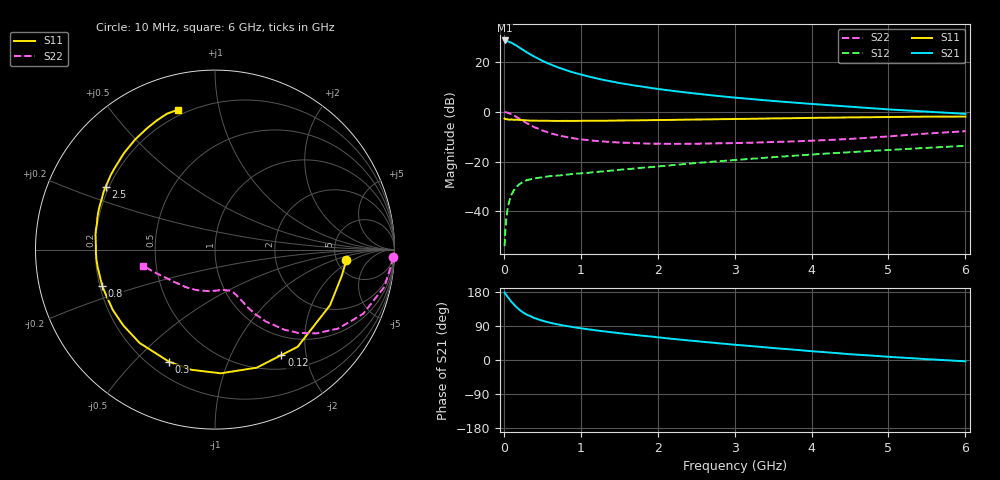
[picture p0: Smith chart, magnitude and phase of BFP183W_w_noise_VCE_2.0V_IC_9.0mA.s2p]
! Infineon Technologies  Discrete & RF Semiconductors
! BFP183W
! VCE =  2.0 V,  IC =  9.0 mA
! Common Emitter S-Parameters:  Jan 2017
# GHz  S  MA  R  50
!  f  S11  S21  S12  S22
! GHz  MAG  ANG  MAG  ANG  MAG  ANG  MAG  ANG
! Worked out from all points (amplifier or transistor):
!   77 points, 10 MHz to 6 GHz, reference 50 ohm
!   highest |S21| = 28.7 dB at 10 MHz (marker M1)
!   |S21| within 3 dB of that: start of sweep to 210 MHz
!   unconditionally stable (mu >= 1): 1.648 GHz to 4.36 GHz
!   at 130 MHz: K = 0.13, MSG = 29.4 dB, |S12| = -31.5 dB
!   at 2.2 GHz: K = 1.07, MAG = 13.3 dB, |S12| = -21.4 dB
!   at 6 GHz: K = 0.89, MSG = 6.4 dB, |S12| = -13.7 dB
!   lowest NFmin = 0.90 dB at 450 MHz
!   S11 on the Smith chart (normalised r, x): 10 MHz: 6.12, -1.56; 120 MHz: 0.70, -1.58; 300 MHz: 0.28, -0.63; 800 MHz: 0.21, -0.15; 2.5 GHz: 0.19, +0.26; 6 GHz: 0.17, +0.75
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0.01  0.7342 -4.6  27.27 178.2  0.002 90.1  0.9926 -2.5
0.02  0.7214 -11.6  27.02 174.4  0.0042 90.0  0.9857 -5.0
0.05  0.7118 -25.8  26.34 166.2  0.0116 79.1  0.9669 -12.3
0.1  0.7108 -49.6  24.49 153.3  0.0219 69.0  0.8996 -23.4
0.12  0.6944 -57.8  23.46 149.1  0.0249 64.2  0.8635 -26.9
0.15  0.6977 -70.5  22.17 142.2  0.0297 58.9  0.8159 -32.6
0.2  0.69 -87.3  19.76 133.0  0.0349 52.3  0.7325 -39.6
0.25  0.6825 -101.2  17.61 125.4  0.0392 47.1  0.6562 -45.0
0.3  0.6748 -112.4  15.69 119.5  0.0426 43.0  0.5909 -49.1
0.4  0.6686 -128.9  12.79 110.3  0.046 39.1  0.4913 -54.7
0.5  0.663 -140.5  10.64 103.7  0.0485 36.2  0.4241 -58.0
0.6  0.6613 -149.3  9.087 98.4  0.0513 35.1  0.3754 -60.2
0.8  0.6604 -162.2  6.98 90.1  0.0545 36.1  0.3156 -62.7
0.9  0.6584 -167.1  6.227 86.7  0.0566 36.3  0.2963 -63.9
1.1  0.6629 -175.0  5.154 81.0  0.0597 37.6  0.2705 -65.7
1.5  0.6712 172.8  3.817 70.9  0.0684 40.9  0.2421 -70.7
2.1  0.6877 158.4  2.768 57.8  0.0826 44.6  0.2285 -81.7
2.5  0.7021 150.3  2.332 49.8  0.0937 45.9  0.2294 -91.1
3.1  0.7225 139.6  1.88 38.7  0.1106 46.2  0.2378 -105.5
4.1  0.7604 124.6  1.41 21.8  0.1421 44.5  0.2676 -130.0
5.1  0.7918 113.2  1.099 7.2  0.175 40.7  0.3301 -153.8
6  0.8058 104.9  0.913 -3.5  0.2076 35.7  0.4086 -167.2
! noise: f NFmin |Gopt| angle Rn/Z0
0.45  0.9  0.11  89  0.11
0.9  0.95  0.18  132  0.1
1.9  1.46  0.37  179  0.07
2.4  1.71  0.44  -170  0.09
